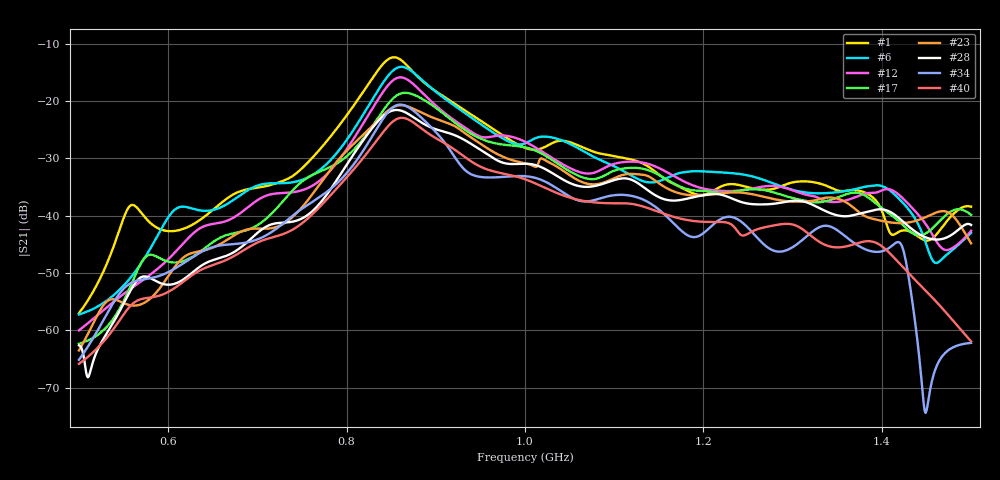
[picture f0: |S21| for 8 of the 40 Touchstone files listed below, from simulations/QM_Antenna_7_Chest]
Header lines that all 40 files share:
! TOUCHSTONE file generated by CST MICROWAVE STUDIO
! Header version: 2018
! Port assignment regex: !\s*Touchstone port\s*([0-9]+)\s*=\s*(CST MWS port|CST DS port)\s*([0-9]+|Zmin|Zmax)\s*\(\"(.*)\"\)(\s*mode\s*([0-9]+))?.*
! Touchstone port assignment:
! Touchstone port 1 = CST MWS port 1 ("")
! Touchstone port 2 = CST MWS port 2 ("")
# GHz S DB R 50
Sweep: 500 MHz to 1.5 GHz
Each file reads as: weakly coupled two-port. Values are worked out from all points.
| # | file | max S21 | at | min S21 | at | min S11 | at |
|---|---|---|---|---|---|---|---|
| 1 | 0_3.s2p | -12.39 dB | 853 MHz | -57.0 dB | 500 MHz | -42.4 dB | 1.325 GHz |
| 2 | 0_4.s2p | -13.24 dB | 854 MHz | -57.0 dB | 504 MHz | -27.2 dB | 1.304 GHz |
| 3 | 0_6.s2p | -15.01 dB | 853 MHz | -78.9 dB | 1.474 GHz | -52.6 dB | 666 MHz |
| 4 | 0_10.s2p | -16.68 dB | 866 MHz | -56.4 dB | 528 MHz | -33.0 dB | 1.318 GHz |
| 5 | 0_11.s2p | -15.62 dB | 866 MHz | -55.0 dB | 500 MHz | -43.2 dB | 1.299 GHz |
| 6 | 0_13.s2p | -14.06 dB | 862 MHz | -57.2 dB | 500 MHz | -25.1 dB | 1.26 GHz |
| 7 | 0_14.s2p | -13.88 dB | 860 MHz | -58.3 dB | 500 MHz | -22.4 dB | 1.239 GHz |
| 8 | 0_15.s2p | -14.24 dB | 857 MHz | -59.2 dB | 500 MHz | -20.2 dB | 1.348 GHz |
| 9 | 0_16.s2p | -14.98 dB | 856 MHz | -60.0 dB | 500 MHz | -24.4 dB | 1.328 GHz |
| 10 | 0_22.s2p | -17.18 dB | 864 MHz | -61.7 dB | 522 MHz | -21.6 dB | 1.221 GHz |
| 11 | 0_23.s2p | -16.46 dB | 865 MHz | -61.2 dB | 504 MHz | -25.9 dB | 1.321 GHz |
| 12 | 0_25.s2p | -15.90 dB | 860 MHz | -60.0 dB | 500 MHz | -51.5 dB | 1.287 GHz |
| 13 | 0_26.s2p | -16.34 dB | 858 MHz | -59.5 dB | 500 MHz | -34.6 dB | 1.271 GHz |
| 14 | 0_30.s2p | -19.21 dB | 859 MHz | -60.1 dB | 509 MHz | -46.3 dB | 685 MHz |
| 15 | 0_31.s2p | -19.35 dB | 862 MHz | -60.7 dB | 500 MHz | -33.4 dB | 1.299 GHz |
| 16 | 0_32.s2p | -19.12 dB | 864 MHz | -61.6 dB | 500 MHz | -46.1 dB | 1.284 GHz |
| 17 | 0_33.s2p | -18.59 dB | 866 MHz | -62.4 dB | 500 MHz | -36.0 dB | 1.27 GHz |
| 18 | 0_34.s2p | -18.11 dB | 865 MHz | -63.0 dB | 500 MHz | -30.8 dB | 1.255 GHz |
| 19 | 0_35.s2p | -17.73 dB | 863 MHz | -63.5 dB | 500 MHz | -27.5 dB | 1.24 GHz |
| 20 | 0_36.s2p | -17.72 dB | 860 MHz | -63.9 dB | 500 MHz | -24.5 dB | 1.225 GHz |
| 21 | 0_37.s2p | -18.16 dB | 858 MHz | -64.1 dB | 500 MHz | -26.0 dB | 1.31 GHz |
| 22 | 0_40.s2p | -20.36 dB | 858 MHz | -63.9 dB | 500 MHz | -45.4 dB | 1.268 GHz |
| 23 | 0_41.s2p | -20.75 dB | 861 MHz | -63.5 dB | 500 MHz | -35.0 dB | 1.255 GHz |
| 24 | 0_42.s2p | -20.74 dB | 864 MHz | -63.1 dB | 500 MHz | -36.7 dB | 690 MHz |
| 25 | 0_43.s2p | -20.44 dB | 865 MHz | -62.5 dB | 500 MHz | -29.9 dB | 685 MHz |
| 26 | 0_47.s2p | -19.55 dB | 859 MHz | -61.3 dB | 500 MHz | -40.7 dB | 1.267 GHz |
| 27 | 0_48.s2p | -20.03 dB | 857 MHz | -68.1 dB | 546 MHz | -49.6 dB | 1.254 GHz |
| 28 | 0_50.s2p | -21.58 dB | 856 MHz | -68.2 dB | 510 MHz | -30.4 dB | 1.228 GHz |
| 29 | 1_2.s2p | -21.68 dB | 858 MHz | -60.7 dB | 1.468 GHz | -34.4 dB | 1.293 GHz |
| 30 | 1_3.s2p | -21.03 dB | 861 MHz | -68.5 dB | 1.464 GHz | -32.3 dB | 1.237 GHz |
| 31 | 1_5.s2p | -22.72 dB | 862 MHz | -70.4 dB | 1.455 GHz | -26.6 dB | 984 MHz |
| 32 | 1_6.s2p | -22.10 dB | 859 MHz | -63.3 dB | 500 MHz | -27.0 dB | 1.215 GHz |
| 33 | 2_2.s2p | -21.11 dB | 858 MHz | -59.3 dB | 500 MHz | -46.3 dB | 1.296 GHz |
| 34 | 2_3.s2p | -20.64 dB | 860 MHz | -74.4 dB | 1.449 GHz | -29.5 dB | 1.239 GHz |
| 35 | 2_4.s2p | -22.11 dB | 862 MHz | -63.5 dB | 500 MHz | -47.9 dB | 764 MHz |
| 36 | 2_5.s2p | -22.42 dB | 862 MHz | -78.3 dB | 1.475 GHz | -26.8 dB | 1.256 GHz |
| 37 | 3_2.s2p | -20.63 dB | 857 MHz | -74.6 dB | 1.456 GHz | -37.0 dB | 1.297 GHz |
| 38 | 3_4.s2p | -21.87 dB | 860 MHz | -63.5 dB | 507 MHz | -46.1 dB | 765 MHz |
| 39 | 3_5.s2p | -22.24 dB | 861 MHz | -82.9 dB | 1.5 GHz | -27.9 dB | 1.257 GHz |
| 40 | 3_6.s2p | -22.95 dB | 862 MHz | -65.9 dB | 500 MHz | -35.0 dB | 1.217 GHz |
